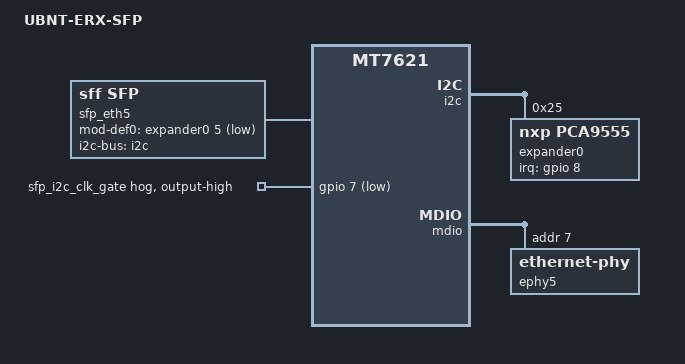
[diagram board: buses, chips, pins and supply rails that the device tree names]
/dts-v1/;

#include "mt7621_ubiquiti_edgerouterx.dtsi"

/ {
	model = "UBNT-ERX-SFP";
	compatible = "ubiquiti,edgerouterx-sfp", "mediatek,mt7621-soc";

	sfp_eth5: sfp_eth5 {
		compatible = "sff,sfp";
		i2c-bus = <&i2c>;
		mod-def0-gpio = <&expander0 5 GPIO_ACTIVE_LOW>;
		maximum-power-milliwatt = <1000>;
	};
};

&i2c {
	status = "okay";

	expander0: pca9555@25 {
		compatible = "nxp,pca9555";
		interrupt-parent = <&gpio>;
		interrupts = <8 IRQ_TYPE_EDGE_FALLING>;
		gpio-controller;
		#gpio-cells = <2>;
		reg = <0x25>;
	};
};

&mdio {
	ephy5: ethernet-phy@7 {
		reg = <7>;
		sfp = <&sfp_eth5>;
	};
};

&switch0 {
	ports {
		port@5 {
			reg = <5>;
			label = "eth5";
			phy-handle = <&ephy5>;
			phy-mode = "rgmii-rxid";
		};
	};
};

&gpio {
	sfp_i2c_clk_gate {
		gpio-hog;
		gpios = <7 GPIO_ACTIVE_LOW>;
		output-high;
	};
};
